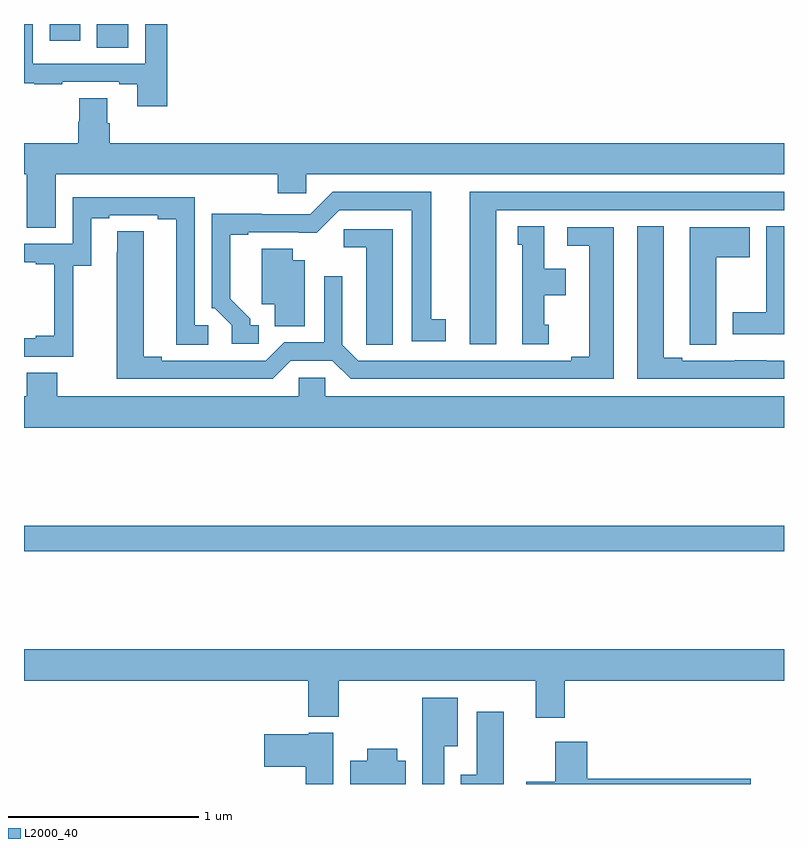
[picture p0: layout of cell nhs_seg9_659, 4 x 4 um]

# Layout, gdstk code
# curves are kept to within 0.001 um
import gdstk
lib = gdstk.Library(unit=1e-6, precision=1e-09)
def R(c, l, rs):  # rectangles x0, y0, x1, y1
    for r in rs: c.add(gdstk.rectangle(r[:2], r[2:], *l))
def P(c, l, *ps):  # polygons
    for p in ps: c.add(gdstk.Polygon(p, *l))
L2000_40 = (2000, 40)

nhs_seg9_659 = lib.new_cell('nhs_seg9_659')
R(nhs_seg9_659, L2000_40, [(143,1239.724,147,1239.86), (143.384,1242.376,143.548,1242.5), (143.135,1242.411,143.296,1242.5)])
P(nhs_seg9_659, L2000_40, [(143.753,1242.5),(143.637,1242.5),(143.637,1242.291),(143.046,1242.291),(143.046,1242.5),(143,1242.5),(143,1242.189),(143.053,1242.189),(143.053,1242.183),(143.201,1242.183),(143.201,1242.195),(143.501,1242.195),(143.501,1242.183),(143.597,1242.183),(143.597,1242.066),(143.753,1242.066)],
  [(143.167,1241.708),(144.335,1241.708),(144.335,1241.61),(144.486,1241.61),(144.486,1241.708),(147,1241.708),(147,1241.872),(143.45,1241.872),(143.45,1241.978),(143.437,1241.978),(143.437,1242.11),(143.29,1242.11),(143.29,1241.985),(143.285,1241.985),(143.285,1241.872),(143,1241.872),(143,1241.708),(143.015,1241.708),(143.015,1241.428),(143.167,1241.428)],
  [(144.235,1240.914),(144.19,1240.914),(144.19,1240.949),(144.085,1241.054),(144.085,1241.391),(144.181,1241.391),(144.181,1241.403),(144.542,1241.402),(144.66,1241.52),(145.04,1241.52),(145.04,1240.83),(145.219,1240.83),(145.219,1240.946),(145.144,1240.946),(145.144,1241.616),(144.624,1241.616),(144.507,1241.499),(144.251,1241.499),(144.251,1241.501),(143.988,1241.501),(143.988,1241.004),(144.003,1241.004),(144.093,1240.914),(144.093,1240.818),(144.235,1240.818)],
  [(145.486,1241.52),(147,1241.52),(147,1241.616),(145.346,1241.616),(145.346,1240.815),(145.486,1240.815)],
  [(143.259,1241.227),(143.353,1241.227),(143.353,1241.478),(143.449,1241.478),(143.449,1241.493),(143.705,1241.493),(143.705,1241.473),(143.801,1241.473),(143.801,1240.813),(143.971,1240.813),(143.971,1240.914),(143.898,1240.914),(143.898,1241.589),(143.256,1241.589),(143.256,1241.343),(143,1241.343),(143,1241.247),(143.063,1241.247),(143.063,1241.235),(143.159,1241.235),(143.159,1240.858),(143.063,1240.858),(143.063,1240.845),(143,1240.845),(143,1240.749),(143.259,1240.749)],
  [(147,1240.728),(146.906,1240.728),(146.906,1240.729),(146.74,1240.729),(146.74,1240.728),(146.464,1240.728),(146.464,1240.743),(146.368,1240.743),(146.368,1241.435),(146.228,1241.435),(146.228,1240.632),(147,1240.632)],
  [(145.762,1240.917),(145.738,1240.917),(145.738,1241.072),(145.852,1241.072),(145.852,1241.212),(145.738,1241.212),(145.738,1241.435),(145.598,1241.435),(145.598,1241.337),(145.622,1241.337),(145.622,1240.815),(145.762,1240.815)],
  [(147,1241.435),(146.906,1241.435),(146.906,1240.983),(146.729,1240.983),(146.729,1240.866),(147,1240.866)],
  [(146.644,1241.272),(146.821,1241.272),(146.821,1241.431),(146.504,1241.431),(146.504,1240.921),(146.505,1240.921),(146.505,1240.813),(146.644,1240.813)],
  [(144.405,1240.728),(144.623,1240.728),(144.719,1240.632),(146.104,1240.632),(146.104,1241.43),(145.86,1241.43),(145.86,1241.334),(145.976,1241.334),(145.976,1240.748),(145.88,1240.748),(145.88,1240.728),(144.759,1240.728),(144.675,1240.812),(144.675,1241.173),(144.579,1241.173),(144.579,1240.824),(144.369,1240.824),(144.273,1240.728),(143.725,1240.728),(143.725,1240.748),(143.629,1240.748),(143.629,1241.408),(143.49,1241.408),(143.489,1240.632),(144.309,1240.632)],
  [(144.94,1241.421),(144.684,1241.421),(144.684,1241.324),(144.8,1241.324),(144.8,1240.921),(144.801,1240.921),(144.801,1240.813),(144.94,1240.813)],
  [(144.478,1241.257),(144.415,1241.257),(144.415,1241.318),(144.251,1241.318),(144.251,1241.024),(144.32,1241.024),(144.32,1240.909),(144.478,1240.909)],
  [(147,1240.54),(144.585,1240.54),(144.585,1240.638),(144.447,1240.638),(144.447,1240.54),(143.175,1240.54),(143.175,1240.664),(143.015,1240.664),(143.015,1240.54),(143,1240.54),(143,1240.376),(147,1240.376)],
  [(145.847,1239.044),(147,1239.044),(147,1239.208),(143,1239.208),(143,1239.044),(144.497,1239.044),(144.497,1238.855),(144.657,1238.855),(144.657,1239.044),(145.694,1239.044),(145.694,1238.85),(145.847,1238.85)],
  [(145.213,1238.699),(145.282,1238.699),(145.282,1238.953),(145.097,1238.953),(145.097,1238.5),(145.213,1238.5)],
  [(145.525,1238.881),(145.382,1238.881),(145.382,1238.548),(145.298,1238.548),(145.298,1238.5),(145.525,1238.5)],
  [(144.628,1238.77),(144.498,1238.77),(144.498,1238.761),(144.264,1238.761),(144.264,1238.591),(144.482,1238.591),(144.482,1238.5),(144.628,1238.5)],
  [(146.824,1238.528),(145.964,1238.528),(145.964,1238.722),(145.796,1238.722),(145.796,1238.511),(145.644,1238.511),(145.644,1238.5),(146.824,1238.5)],
  [(145.009,1238.623),(144.964,1238.623),(144.964,1238.686),(144.806,1238.686),(144.806,1238.623),(144.716,1238.623),(144.716,1238.5),(145.009,1238.5)])

lib.write_gds('nhs_seg9_659.gds')
